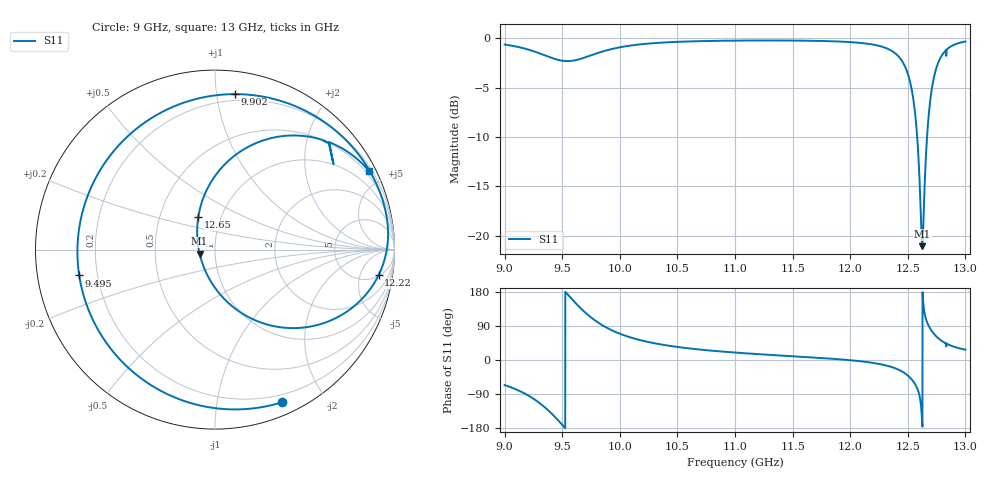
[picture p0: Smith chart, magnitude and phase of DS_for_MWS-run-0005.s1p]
! TOUCHSTONE file generated by CST DESIGN STUDIO
! Date and time: Tue Feb  4 17:37:53 2025
! Project name: C:\Work\MatlabApps\UnitCellOptimizationMatlab\CST\unitcell.cst
! Tree item: Tasks\Sweep1\SPara1\S-Parameters
! Header version: 2024
! Port assignment regex: !\s*Touchstone port\s*([0-9]+)\s*=\s*(CST MWS port|CST DES external port|CST DES block port)\s*(.+)\s* \(\"(.*)\"\)(\s*mode\s*([0-9]+))?.*
! Touchstone port assignment:
! Touchstone port 1 = CST DES external port 1 ("")
# GHz S MA R 50
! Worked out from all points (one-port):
!   4001 points, 9 GHz to 13 GHz, reference 50 ohm
!   lowest |S11| = -21.0 dB at 12.62 GHz (marker M1), VSWR 1.19, Z = 42.1 - j1.89 ohm
!   |S11| at or under -10 dB: 12.58 GHz to 12.67 GHz (85.24 MHz wide, 0.675 % of centre)
!   S11 on the Smith chart (normalised r, x): 9 GHz: 0.12, -1.53; 9.495 GHz: 0.13, -0.09; 9.902 GHz: 0.15, +1.12; 12.22 GHz: 5, -10; 12.65 GHz: 0.78, +0.30; 13 GHz: 0.34, +4.10
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9  0.9291 -66.2
9.165  0.8894 -87.0
9.282  0.847 -108.8
9.385  0.804 -134.7
9.495  0.7703 -169.2
9.5  0.7695 -170.9
9.592  0.7697 158.1
9.702  0.8008 124.7
9.794  0.836 102.5
9.902  0.8733 82.7
10  0.8995 69.4
10.216  0.9358 49.6
10.5  0.9585 34.4
11  0.9726 19.6
11.5  0.9731 10.0
12  0.9556 -0.5
12.221  0.923 -8.8
12.391  0.8387 -21.9
12.5  0.6614 -41.0
12.566  0.4037 -65.2
12.613  0.1274 -115.9
12.625  0.08874 -165.4
12.636  0.1194 145.8
12.65  0.2043 117.1
12.691  0.4633 84.8
12.754  0.7249 60.3
12.852  0.8908 40.8
13  0.9623 27.3
